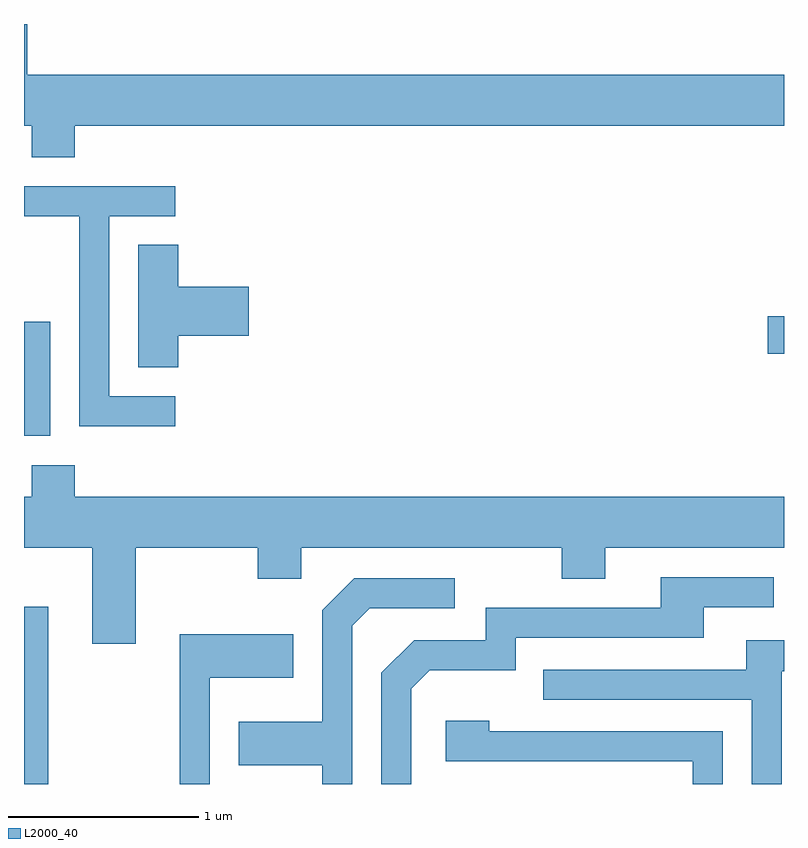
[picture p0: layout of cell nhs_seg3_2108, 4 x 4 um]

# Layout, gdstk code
import gdstk
lib = gdstk.Library(unit=1e-6, precision=1e-09)
def R(c, l, rs):  # rectangles x0, y0, x1, y1
    for r in rs: c.add(gdstk.rectangle(r[:2], r[2:], *l))
def P(c, l, *ps):  # polygons
    for p in ps: c.add(gdstk.Polygon(p, *l))
L2000_40 = (2000, 40)

nhs_seg3_2108 = lib.new_cell('nhs_seg3_2108')
R(nhs_seg3_2108, L2000_40, [(247.611,1115.892,247.739,1116.824), (247.611,1117.726,247.749,1118.324), (251.526,1118.156,251.611,1118.354)])
P(nhs_seg3_2108, L2000_40, [(247.879,1119.356),(251.611,1119.356),(251.611,1119.624),(247.629,1119.624),(247.629,1119.892),(247.611,1119.892),(247.611,1119.356),(247.651,1119.356),(247.651,1119.191),(247.879,1119.191)],
  [(248.408,1117.934),(248.059,1117.934),(248.059,1118.881),(248.408,1118.881),(248.408,1119.039),(247.611,1119.039),(247.611,1118.881),(247.901,1118.881),(247.901,1117.776),(248.408,1117.776)],
  [(248.424,1118.251),(248.794,1118.251),(248.794,1118.509),(248.424,1118.509),(248.424,1118.729),(248.211,1118.729),(248.211,1118.086),(248.424,1118.086)],
  [(248.199,1117.136),(248.841,1117.136),(248.841,1116.971),(249.069,1116.971),(249.069,1117.136),(250.441,1117.136),(250.441,1116.971),(250.669,1116.971),(250.669,1117.136),(251.611,1117.136),(251.611,1117.404),(247.879,1117.404),(247.879,1117.569),(247.651,1117.569),(247.651,1117.404),(247.611,1117.404),(247.611,1117.136),(247.971,1117.136),(247.971,1116.631),(248.199,1116.631)],
  [(249.649,1116.394),(249.747,1116.491),(250.199,1116.491),(250.199,1116.661),(251.189,1116.661),(251.189,1116.821),(251.558,1116.821),(251.558,1116.979),(250.961,1116.979),(250.961,1116.819),(250.041,1116.819),(250.041,1116.649),(249.664,1116.649),(249.491,1116.477),(249.491,1115.892),(249.649,1115.892)],
  [(249.339,1116.724),(249.432,1116.816),(249.878,1116.816),(249.878,1116.974),(249.349,1116.974),(249.181,1116.807),(249.181,1116.219),(248.741,1116.219),(248.741,1115.991),(249.181,1115.991),(249.181,1115.892),(249.339,1115.892)],
  [(248.589,1116.451),(249.029,1116.451),(249.029,1116.679),(248.431,1116.679),(248.431,1115.892),(248.589,1115.892)],
  [(251.599,1116.486),(251.611,1116.486),(251.611,1116.649),(251.411,1116.649),(251.411,1116.494),(250.343,1116.494),(250.343,1116.336),(251.441,1116.336),(251.441,1115.892),(251.599,1115.892)],
  [(251.289,1116.169),(250.059,1116.169),(250.059,1116.224),(249.831,1116.224),(249.831,1116.011),(251.131,1116.011),(251.131,1115.892),(251.289,1115.892)])

lib.write_gds('nhs_seg3_2108.gds')
